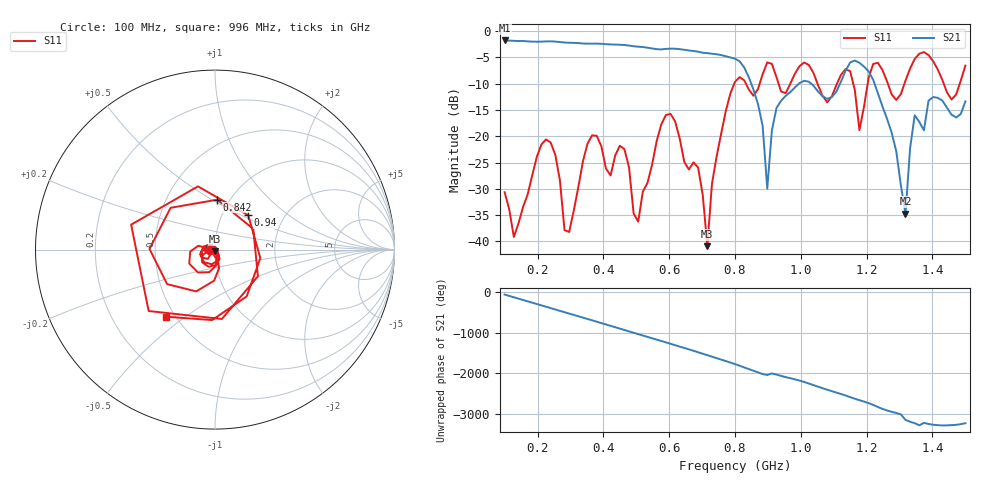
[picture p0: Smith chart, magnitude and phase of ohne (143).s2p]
! NanoVNA-App
! Date: 2025-09-25 14:21:55
! Start: 100MHz Stop: 1,5GHz Points: 101
! S-Parameter data: F S11 S21 S12 S22
# Hz S RI R 50
!  Frequency  S11_Real  S11_Imag  S21_Real  S21_Imag  S12_Real  S12_Imag  S22_Real  S22_Imag
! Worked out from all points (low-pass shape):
!   101 points, 100 MHz to 1.5 GHz, reference 50 ohm
!   highest |S21| = -1.79 dB at 100 MHz (marker M1); lowest = -34.7 dB at 1.318 GHz (marker M2)
!   |S21| within 3 dB of the highest: start of sweep to 771.9 MHz
!   lowest |S11| = -40.9 dB at 716 MHz (marker M3), VSWR 1.02, Z = 49.9 - j0.891 ohm
!   |S11| at or under -10 dB: start of sweep to 797.8 MHz; 833 MHz to 875 MHz (42 MHz wide, 4.92 % of centre); 1.051 GHz to 1.11 GHz (59.17 MHz wide, 5.48 % of centre) (the widest 3 of 7)
!   S12 and S22 are empty: the file has one direction only
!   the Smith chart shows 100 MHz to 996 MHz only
!   S11 on the Smith chart (normalised r, x): 100 MHz: 0.94, -0.01; 842 MHz: 0.88, +0.53; 940 MHz: 1.33, +0.55; 996 MHz: 0.44, -0.42
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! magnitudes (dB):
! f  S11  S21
! 100 MHz  -30.6  -1.8
! 128 MHz  -39.1  -1.9
! 226 MHz  -20.6  -2.0
! 296 MHz  -38.2  -2.2
! 338 MHz  -24.8  -2.4
! 464 MHz  -22.5  -2.7
! 506 MHz  -36.2  -3.0
! 576 MHz  -17.7  -3.5
! 688 MHz  -26.0  -3.9
! 716 MHz  -40.9  -4.2
! 800 MHz  -9.7  -5.3
! 842 MHz  -11.1  -8.8
! 898 MHz  -6.0  -30.0
! 940 MHz  -11.5  -13.2
! 996 MHz  -6.7  -9.9
! 1.038 GHz  -7.9  -10.3
! 1.178 GHz  -18.8  -6.0
! 1.22 GHz  -6.3  -9.3
! 1.276 GHz  -12.0  -19.3
! 1.318 GHz  -9.4  -34.7
! 1.346 GHz  -5.3  -16.0
! 1.5 GHz  -6.6  -13.4
